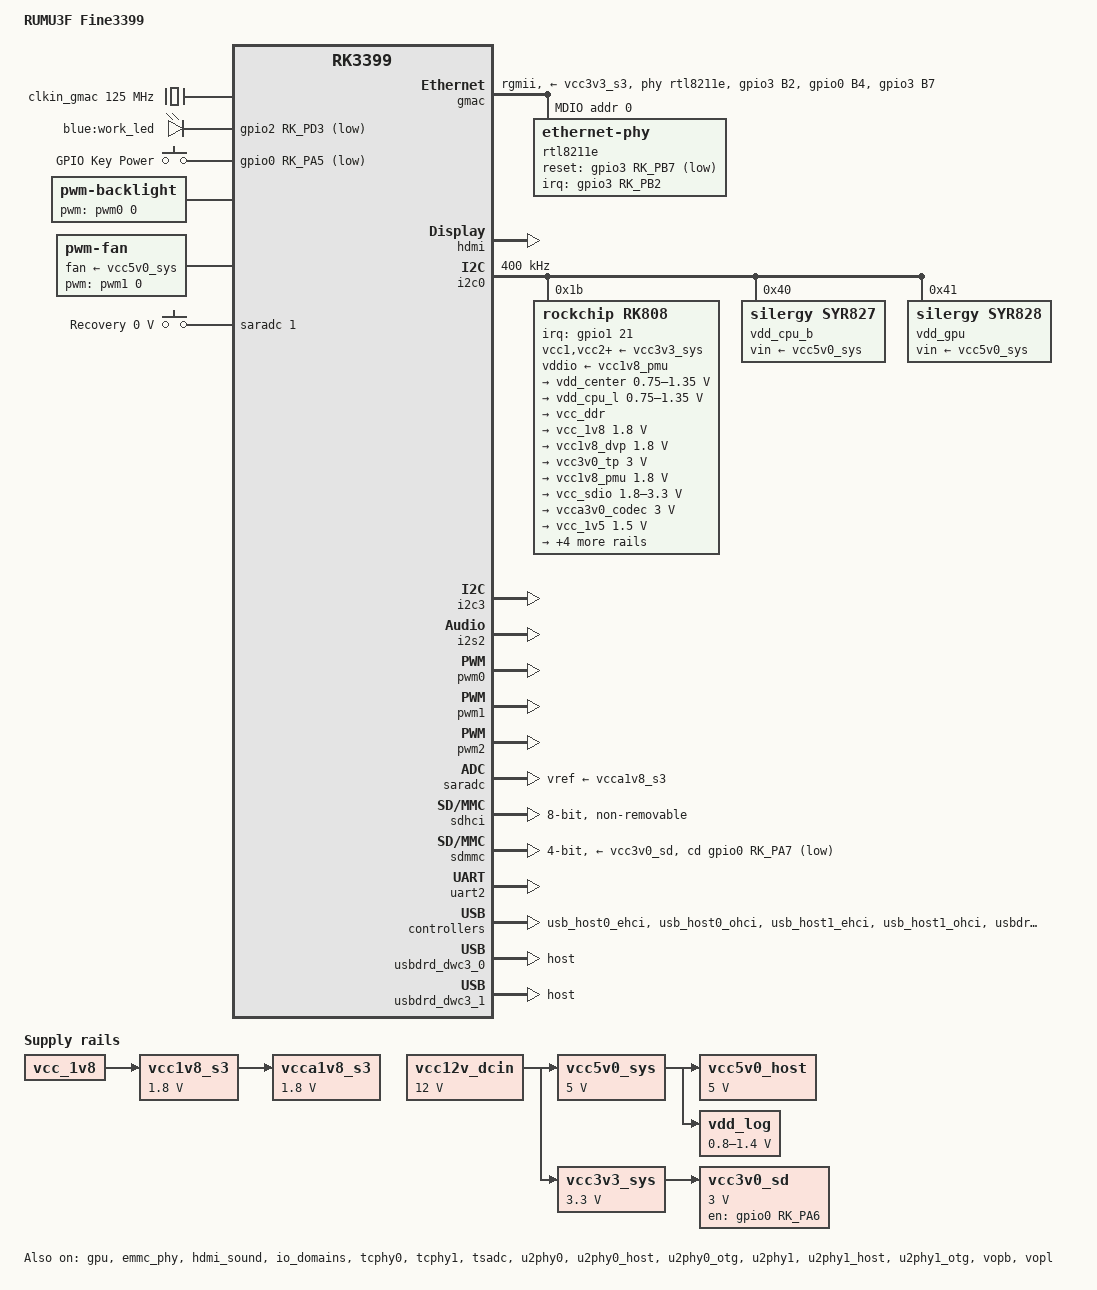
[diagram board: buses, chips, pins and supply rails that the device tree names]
// SPDX-License-Identifier: (GPL-2.0+ OR MIT)

/dts-v1/;

#include <dt-bindings/input/input.h>
#include <dt-bindings/pwm/pwm.h>
#include "rk3399.dtsi"
#include "rk3399-opp.dtsi"

/ {
	model = "RUMU3F Fine3399";
	compatible = "rumu3f,fine-3399", "rockchip,rk3399";

	aliases {
		ethernet0 = &gmac;
		mmc0 = &sdhci;
		mmc1 = &sdmmc;
	};

	chosen {
		stdout-path = "serial2:1500000n8";
	};

	clkin_gmac: external-gmac-clock {
		compatible = "fixed-clock";
		clock-frequency = <125000000>;
		clock-output-names = "clkin_gmac";
		#clock-cells = <0>;
	};

	vcc12v_dcin: dc-12v {
		compatible = "regulator-fixed";
		regulator-name = "vcc12v_dcin";
		regulator-always-on;
		regulator-boot-on;
		regulator-min-microvolt = <12000000>;
		regulator-max-microvolt = <12000000>;
	};

	vcc5v0_sys: vcc5v0-sys {
		compatible = "regulator-fixed";
		regulator-name = "vcc5v0_sys";
		regulator-always-on;
		regulator-boot-on;
		regulator-min-microvolt = <5000000>;
		regulator-max-microvolt = <5000000>;
		vin-supply = <&vcc12v_dcin>;
	};
	
	vcc3v3_sys: vcc3v3-sys {
		compatible = "regulator-fixed";
		regulator-name = "vcc3v3_sys";
		regulator-always-on;
		regulator-boot-on;
		regulator-min-microvolt = <3300000>;
		regulator-max-microvolt = <3300000>;
		vin-supply = <&vcc12v_dcin>;
	};

	/* switched by pmic_sleep */
	vcc1v8_s3: vcc1v8-s3 {
		compatible = "regulator-fixed";
		regulator-name = "vcc1v8_s3";
		regulator-always-on;
		regulator-boot-on;
		regulator-min-microvolt = <1800000>;
		regulator-max-microvolt = <1800000>;
		vin-supply = <&vcc_1v8>;
	};
	
	vcc5v0_host: vcc5v0-host-regulator {
		compatible = "regulator-fixed";
		regulator-always-on;
		regulator-boot-on;
		regulator-min-microvolt = <5000000>;
		regulator-max-microvolt = <5000000>;
		regulator-name = "vcc5v0_host0";
		vin-supply = <&vcc5v0_sys>;
	};	

	vcc3v0_sd: vcc3v0-sd {
		compatible = "regulator-fixed";
		enable-active-high;
		gpio = <&gpio0 RK_PA6 GPIO_ACTIVE_HIGH>;
		pinctrl-names = "default";
		pinctrl-0 = <&sdmmc0_pwr_h>;
		regulator-always-on;
		regulator-min-microvolt = <3000000>;
		regulator-max-microvolt = <3000000>;
		regulator-name = "vcc3v0_sd";
		vin-supply = <&vcc3v3_sys>;
	};

	vcca1v8_s3: vcca1v8-s3 {
		compatible = "regulator-fixed";
		regulator-min-microvolt = <1800000>;
		regulator-max-microvolt = <1800000>;
		regulator-name = "vcca1v8_s3";
		vin-supply = <&vcc1v8_s3>;
	};
	
	vdd_log: vdd-log {
		compatible = "pwm-regulator";
		pwms = <&pwm2 0 25000 1>;
		regulator-name = "vdd_log";
		regulator-always-on;
		regulator-boot-on;
		regulator-min-microvolt = <800000>;
		regulator-max-microvolt = <1400000>;
		vin-supply = <&vcc5v0_sys>;
	};
	
	gpio-leds {
		compatible = "gpio-leds";
		pinctrl-names = "default";
		pinctrl-0 = <&user_led2>;

		user_led2 {
			label = "blue:work_led";
			gpios = <&gpio2 RK_PD3 GPIO_ACTIVE_LOW>;
			linux,default-trigger = "heartbeat";
		};
	};

	gpio-keys {
		compatible = "gpio-keys";
		autorepeat;
		pinctrl-names = "default";
		pinctrl-0 = <&power_key>;

		key-power {
			debounce-interval = <100>;
			gpios = <&gpio0 RK_PA5 GPIO_ACTIVE_LOW>;
			label = "GPIO Key Power";
			linux,code = <KEY_POWER>;
			wakeup-source;
		};
	};

	backlight: backlight {
		compatible = "pwm-backlight";
		brightness-levels = <0 36 72 108 144 180 216 255>;
		default-brightness-level = <5>;
		pwms = <&pwm0 0 1000000 0>;
	};
	
	fan: pwm-fan {
		compatible = "pwm-fan";
		cooling-levels = <0 30 60 90 120 160>;
		#cooling-cells = <2>;
		fan-supply = <&vcc5v0_sys>;
		pwms = <&pwm1 0 40000 0>;
	};

	adc-keys {
		compatible = "adc-keys";
		io-channels = <&saradc 1>;
		io-channel-names = "buttons";
		keyup-threshold-microvolt = <1750000>;
		poll-interval = <100>;

		recovery {
			label = "Recovery";
			linux,code = <KEY_VENDOR>;
			press-threshold-microvolt = <0>;
		};
	};
};

&cpu_l0 {
	cpu-supply = <&vdd_cpu_l>;
};

&cpu_l1 {
	cpu-supply = <&vdd_cpu_l>;
};

&cpu_l2 {
	cpu-supply = <&vdd_cpu_l>;
};

&cpu_l3 {
	cpu-supply = <&vdd_cpu_l>;
};

&cpu_b0 {
	cpu-supply = <&vdd_cpu_b>;
};

&cpu_b1 {
	cpu-supply = <&vdd_cpu_b>;
};

&gpu {
	mali-supply = <&vdd_gpu>;
	status = "okay";
};

&cpu_thermal {
	trips {
		cpu_warm: cpu_warm {
			temperature = <50000>;
			hysteresis = <2000>;
			type = "active";
		};

		cpu_hot: cpu_hot {
			temperature = <65000>;
			hysteresis = <2000>;
			type = "active";
		};
	};

	cooling-maps {
		map2 {
			trip = <&cpu_warm>;
			cooling-device = <&fan THERMAL_NO_LIMIT 1>;
		};

		map3 {
			trip = <&cpu_hot>;
			cooling-device = <&fan 4 THERMAL_NO_LIMIT>;
		};
	};
};

&emmc_phy {
	clocks = <&cru SCLK_EMMC>;
	status = "okay";
};

&gmac {
	assigned-clocks = <&cru SCLK_RMII_SRC>;
	assigned-clock-parents = <&clkin_gmac>;
	clock_in_out = "input";
	phy-supply = <&vcc3v3_s3>;
	phy-mode = "rgmii";
	phy-handle = <&rtl8211e>;
	pinctrl-names = "default";
	pinctrl-0 = <&rgmii_pins>, <&phy_intb>, <&phy_pmeb>, <&phy_rstb>;
	tx_delay = <0x32>;
	rx_delay = <0x11>;
	status = "okay";

	mdio {
		compatible = "snps,dwmac-mdio";
		#address-cells = <1>;
		#size-cells = <0>;

		rtl8211e: ethernet-phy@0 {
			reg = <0>;
			interrupt-parent = <&gpio3>;
			interrupts = <RK_PB2 IRQ_TYPE_LEVEL_LOW>;
			reset-assert-us = <10000>;
			reset-deassert-us = <30000>;
			reset-gpios = <&gpio3 RK_PB7 GPIO_ACTIVE_LOW>;
		};
	};
};

&hdmi {
	ddc-i2c-bus = <&i2c3>;
	pinctrl-names = "default";
	pinctrl-0 = <&hdmi_cec>;
	status = "okay";
};

&hdmi_sound {
	status = "okay";
};

&i2c0 {
	clock-frequency = <400000>;
	i2c-scl-rising-time-ns = <160>;
	i2c-scl-falling-time-ns = <30>;
	status = "okay";
	
	rk808: pmic@1b {
		compatible = "rockchip,rk808";
		reg = <0x1b>;
		interrupt-parent = <&gpio1>;
		interrupts = <21 IRQ_TYPE_LEVEL_LOW>;
		#clock-cells = <1>;
		clock-output-names = "xin32k", "rk808-clkout2";
		pinctrl-names = "default";
		pinctrl-0 = <&pmic_int_l>;
		rockchip,system-power-controller;
		wakeup-source;

		vcc1-supply = <&vcc3v3_sys>;
		vcc2-supply = <&vcc3v3_sys>;
		vcc3-supply = <&vcc3v3_sys>;
		vcc4-supply = <&vcc3v3_sys>;
		vcc6-supply = <&vcc3v3_sys>;
		vcc7-supply = <&vcc3v3_sys>;
		vcc8-supply = <&vcc3v3_sys>;
		vcc9-supply = <&vcc3v3_sys>;
		vcc10-supply = <&vcc3v3_sys>;
		vcc11-supply = <&vcc3v3_sys>;
		vcc12-supply = <&vcc3v3_sys>;
		vddio-supply = <&vcc1v8_pmu>;

		regulators {
			vdd_center: DCDC_REG1 {
				regulator-name = "vdd_center";
				regulator-always-on;
				regulator-boot-on;
				regulator-min-microvolt = <750000>;
				regulator-max-microvolt = <1350000>;
				regulator-ramp-delay = <6001>;
				regulator-state-mem {
					regulator-off-in-suspend;
				};
			};

			vdd_cpu_l: DCDC_REG2 {
				regulator-name = "vdd_cpu_l";
				regulator-always-on;
				regulator-boot-on;
				regulator-min-microvolt = <750000>;
				regulator-max-microvolt = <1350000>;
				regulator-ramp-delay = <6001>;
				regulator-state-mem {
					regulator-off-in-suspend;
				};
			};

			vcc_ddr: DCDC_REG3 {
				regulator-name = "vcc_ddr";
				regulator-always-on;
				regulator-boot-on;
				regulator-state-mem {
					regulator-on-in-suspend;
				};
			};

			vcc_1v8: DCDC_REG4 {
				regulator-name = "vcc_1v8";
				regulator-always-on;
				regulator-boot-on;
				regulator-min-microvolt = <1800000>;
				regulator-max-microvolt = <1800000>;
				regulator-state-mem {
					regulator-on-in-suspend;
					regulator-suspend-microvolt = <1800000>;
				};
			};

			vcc1v8_dvp: LDO_REG1 {
				regulator-name = "vcc1v8_dvp";
				regulator-always-on;
				regulator-boot-on;
				regulator-min-microvolt = <1800000>;
				regulator-max-microvolt = <1800000>;
				regulator-state-mem {
					regulator-off-in-suspend;
				};
			};

			vcc3v0_tp: LDO_REG2 {
				regulator-name = "vcc3v0_tp";
				regulator-always-on;
				regulator-boot-on;
				regulator-min-microvolt = <3000000>;
				regulator-max-microvolt = <3000000>;
				regulator-state-mem {
					regulator-off-in-suspend;
				};
			};

			vcc1v8_pmu: LDO_REG3 {
				regulator-name = "vcc1v8_pmu";
				regulator-always-on;
				regulator-boot-on;
				regulator-min-microvolt = <1800000>;
				regulator-max-microvolt = <1800000>;
				regulator-state-mem {
					regulator-on-in-suspend;
					regulator-suspend-microvolt = <1800000>;
				};
			};

			vcc_sdio: LDO_REG4 {
				regulator-name = "vcc_sdio";
				regulator-always-on;
				regulator-boot-on;
				regulator-min-microvolt = <1800000>;
				regulator-max-microvolt = <3300000>;
				regulator-state-mem {
					regulator-on-in-suspend;
					regulator-suspend-microvolt = <3000000>;
				};
			};

			vcca3v0_codec: LDO_REG5 {
				regulator-name = "vcca3v0_codec";
				regulator-always-on;
				regulator-boot-on;
				regulator-min-microvolt = <3000000>;
				regulator-max-microvolt = <3000000>;
				regulator-state-mem {
					regulator-off-in-suspend;
				};
			};

			vcc_1v5: LDO_REG6 {
				regulator-name = "vcc_1v5";
				regulator-always-on;
				regulator-boot-on;
				regulator-min-microvolt = <1500000>;
				regulator-max-microvolt = <1500000>;
				regulator-state-mem {
					regulator-on-in-suspend;
					regulator-suspend-microvolt = <1500000>;
				};
			};

			vcca1v8_codec: LDO_REG7 {
				regulator-name = "vcca1v8_codec";
				regulator-always-on;
				regulator-boot-on;
				regulator-min-microvolt = <1800000>;
				regulator-max-microvolt = <1800000>;
				regulator-state-mem {
					regulator-off-in-suspend;
				};
			};

			vcc_3v0: LDO_REG8 {
				regulator-name = "vcc_3v0";
				regulator-always-on;
				regulator-boot-on;
				regulator-min-microvolt = <3000000>;
				regulator-max-microvolt = <3000000>;
				regulator-state-mem {
					regulator-on-in-suspend;
					regulator-suspend-microvolt = <3000000>;
				};
			};

			vcc3v3_s3: SWITCH_REG1 {
				regulator-name = "vcc3v3_s3";
				regulator-always-on;
				regulator-boot-on;
				regulator-state-mem {
					regulator-off-in-suspend;
				};
			};

			vcc3v3_s0: SWITCH_REG2 {
				regulator-name = "vcc3v3_s0";
				regulator-always-on;
				regulator-boot-on;
				regulator-state-mem {
					regulator-off-in-suspend;
				};
			};
		};
	};

	vdd_cpu_b: regulator@40 {
		compatible = "silergy,syr827";
		reg = <0x40>;
		fcs,suspend-voltage-selector = <1>;
		pinctrl-names = "default";
		pinctrl-0 = <&cpu_b_sleep>;
		regulator-name = "vdd_cpu_b";
		regulator-min-microvolt = <712500>;
		regulator-max-microvolt = <1500000>;
		regulator-ramp-delay = <1000>;
		regulator-always-on;
		regulator-boot-on;
		vin-supply = <&vcc5v0_sys>;

		regulator-state-mem {
			regulator-off-in-suspend;
		};
	};

	vdd_gpu: regulator@41 {
		compatible = "silergy,syr828";
		reg = <0x41>;
		fcs,suspend-voltage-selector = <1>;
		pinctrl-names = "default";
		pinctrl-0 = <&gpu_sleep>;
		regulator-name = "vdd_gpu";
		regulator-min-microvolt = <712500>;
		regulator-max-microvolt = <1500000>;
		regulator-ramp-delay = <1000>;
		regulator-always-on;
		regulator-boot-on;
		vin-supply = <&vcc5v0_sys>;

		regulator-state-mem {
			regulator-off-in-suspend;
		};
	};	
};	

&i2c3 {
	i2c-scl-rising-time-ns = <450>;
	i2c-scl-falling-time-ns = <30>;
	status = "okay";
};

&i2s2 {
	#sound-dai-cells = <0>;
	status = "okay";
};

&io_domains {
	bt656-supply = <&vcc_3v0>;
	audio-supply = <&vcca1v8_codec>;
	sdmmc-supply = <&vcc_sdio>;
	gpio1830-supply = <&vcc_3v0>;
	status = "okay";
};

&pmu_io_domains {
	pmu1830-supply = <&vcc_1v8>;
	status = "okay";
};

&pinctrl {
	pmic {
		cpu_b_sleep: cpu-b-sleep {
			rockchip,pins = <1 RK_PC1 RK_FUNC_GPIO &pcfg_pull_down>;
		};

		gpu_sleep: gpu-sleep {
			rockchip,pins = <1 RK_PB6 RK_FUNC_GPIO &pcfg_pull_down>;
		};

		pmic_int_l: pmic-int-l {
			rockchip,pins = <1 RK_PC5 RK_FUNC_GPIO &pcfg_pull_up>;
		};
	};

	gmac {
		phy_intb: phy-intb {
			rockchip,pins = <3 RK_PB2 RK_FUNC_GPIO &pcfg_pull_up>;
		};

		phy_pmeb: phy_pmeb {
			rockchip,pins = <0 RK_PB4 RK_FUNC_GPIO &pcfg_pull_up>;
		};

		phy_rstb: phy-rstb {
			rockchip,pins = <3 RK_PB7 RK_FUNC_GPIO &pcfg_pull_none>;
		};
	};	

	sdmmc {	
		sdmmc0_pwr_h: sdmmc0-pwr-h {
			rockchip,pins = <0 RK_PA6 RK_FUNC_GPIO &pcfg_pull_none>;
		};
	};
		
	leds {
		user_led2: user_led2 {
			rockchip,pins = <2 RK_PD3 RK_FUNC_GPIO &pcfg_pull_none>;
		};
	};

	buttons {
		power_key: power_key {
			rockchip,pins = <0 RK_PA5 RK_FUNC_GPIO &pcfg_pull_up>;
		};
	};
};

&pwm0 {
	status = "okay";
};

&pwm1 {
	status = "okay";
};

&pwm2 {
	status = "okay";
};

&saradc {
	vref-supply = <&vcca1v8_s3>;
	status = "okay";
};

&sdhci {
	max-frequency = <150000000>;
	bus-width = <8>;
	mmc-hs200-1_8v;
	non-removable;
	post-power-on-delay-ms = <50>;
	status = "okay";
};

// if kernel panic at system boot, try to disable WiFi
&sdmmc {
	bus-width = <4>;
	cap-sd-highspeed;
	cap-mmc-highspeed;
	cd-gpios = <&gpio0 RK_PA7 GPIO_ACTIVE_LOW>;
	disable-wp;
	pinctrl-names = "default";
	pinctrl-0 = <&sdmmc_clk &sdmmc_cmd &sdmmc_cd &sdmmc_bus4>;
	sd-uhs-sdr50;
	vmmc-supply = <&vcc3v0_sd>;
	vqmmc-supply = <&vcc_sdio>;
	status = "okay";
};

&tcphy0 {
	status = "okay";
};

&tcphy1 {
	status = "okay";
};

&tsadc {
	/* tshut mode 0:CRU 1:GPIO */
	rockchip,hw-tshut-mode = <1>;
	/* tshut polarity 0:LOW 1:HIGH */
	rockchip,hw-tshut-polarity = <1>;
	status = "okay";
};

&u2phy0 {
	status = "okay";
};

&u2phy0_host {
	phy-supply = <&vcc5v0_host>;
	status = "okay";
};

&u2phy0_otg {
	status = "okay";
};

&u2phy1 {
	status = "okay";
};

&u2phy1_host {
	phy-supply = <&vcc5v0_host>;
	status = "okay";
};

&u2phy1_otg {
	status = "okay";
};

&uart2 {
	status = "okay";
};

&usb_host0_ehci {
	status = "okay";
};

&usb_host0_ohci {
	status = "okay";
};

&usb_host1_ehci {
	status = "okay";
};

&usb_host1_ohci {
	status = "okay";
};

&usbdrd3_0 {
	status = "okay";
};

&usbdrd_dwc3_0 {
	status = "okay";
	dr_mode = "host";
};

&usbdrd3_1 {
	status = "okay";
};

&usbdrd_dwc3_1 {
	status = "okay";
	dr_mode = "host";
};

&vopb {
	status = "okay";
};

&vopb_mmu {
	status = "okay";
};

&vopl {
	status = "okay";
};

&vopl_mmu {
	status = "okay";
};
